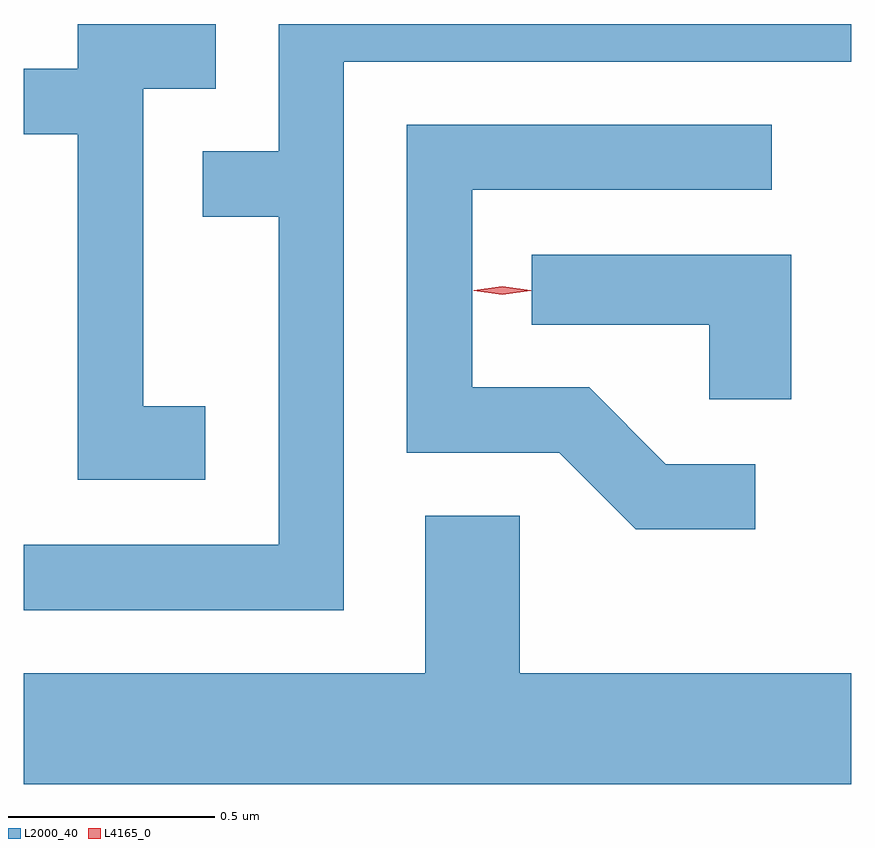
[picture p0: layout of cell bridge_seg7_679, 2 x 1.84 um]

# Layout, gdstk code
import gdstk
lib = gdstk.Library(unit=1e-6, precision=1e-09)
def P(c, l, *ps):  # polygons
    for p in ps: c.add(gdstk.Polygon(p, *l))
L2000_40 = (2000, 40)
L4165_0 = (4165, 0)

bridge_seg7_679 = lib.new_cell('bridge_seg7_679')
P(bridge_seg7_679, L2000_40, [(843.079,1695.249),(842.929,1695.249),(842.929,1696.016),(843.104,1696.016),(843.104,1696.172),(842.771,1696.172),(842.771,1696.064),(842.64,1696.064),(842.64,1695.906),(842.771,1695.906),(842.771,1695.071),(843.079,1695.071)],
  [(843.414,1696.081),(844.64,1696.081),(844.64,1696.172),(843.256,1696.172),(843.256,1695.864),(843.073,1695.864),(843.073,1695.706),(843.256,1695.706),(843.256,1694.914),(842.64,1694.914),(842.64,1694.756),(843.414,1694.756)],
  [(844.408,1695.109),(844.192,1695.109),(844.007,1695.294),(843.724,1695.294),(843.724,1695.771),(844.448,1695.771),(844.448,1695.929),(843.566,1695.929),(843.566,1695.136),(843.934,1695.136),(844.119,1694.951),(844.408,1694.951)],
  [(844.494,1695.614),(843.868,1695.614),(843.868,1695.446),(844.296,1695.446),(844.296,1695.266),(844.494,1695.266)],
  [(844.64,1694.604),(843.839,1694.604),(843.839,1694.984),(843.611,1694.984),(843.611,1694.604),(842.64,1694.604),(842.64,1694.336),(844.64,1694.336)])
P(bridge_seg7_679, L4165_0, [(843.796,1695.518),(843.727,1695.528),(843.727,1695.528),(843.727,1695.529),(843.796,1695.538),(843.865,1695.529),(843.866,1695.528),(843.865,1695.528)],
  [(843.796,1695.518),(843.73,1695.528),(843.729,1695.528),(843.73,1695.529),(843.796,1695.538),(843.862,1695.529),(843.863,1695.528),(843.862,1695.528)])

lib.write_gds('bridge_seg7_679.gds')
